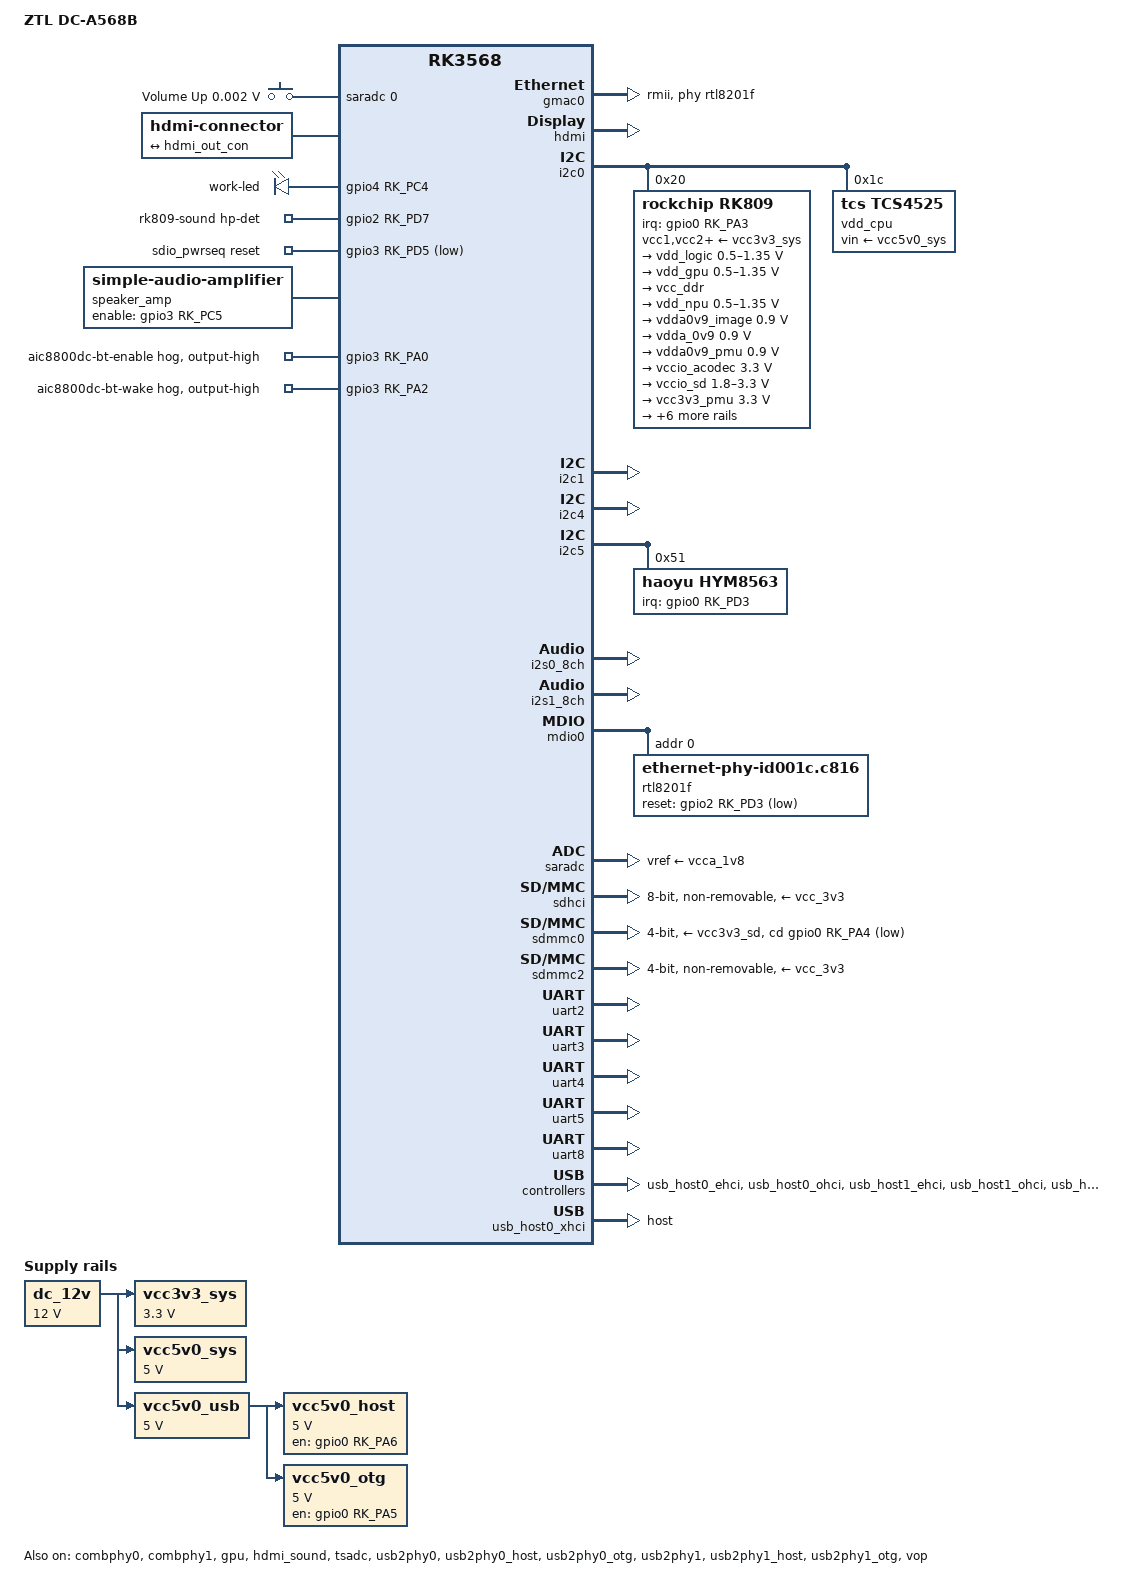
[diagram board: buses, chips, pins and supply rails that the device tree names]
// SPDX-License-Identifier: (GPL-2.0+ OR MIT)
/*
 * Copyright (c) 2022 Fuzhou Rockchip Electronics Co., Ltd.
 * Copyright (c) 2026 retro98boy <retro98boy@qq.com>
 */

/dts-v1/;

#include <dt-bindings/gpio/gpio.h>
#include <dt-bindings/input/input.h>
#include <dt-bindings/pinctrl/rockchip.h>
#include <dt-bindings/soc/rockchip,vop2.h>
#include "rk3568.dtsi"

/ {
	model = "ZTL DC-A568B";
	compatible = "ztl,dc-a568b", "rockchip,rk3568";

	adc-keys {
		compatible = "adc-keys";
		io-channels = <&saradc 0>;
		io-channel-names = "buttons";
		keyup-threshold-microvolt = <1800000>;
		poll-interval = <100>;

		button-volume-up {
			label = "Volume Up";
			linux,code = <KEY_VOLUMEUP>;
			press-threshold-microvolt = <1750>;
		};
	};

	aliases {
		/delete-property/ ethernet1;
		ethernet0 = &gmac0;
		mmc0 = &sdhci;
		mmc1 = &sdmmc0;
		mmc2 = &sdmmc2;
		rtc0 = &hym8563;
		rtc1 = &rk809;
	};

	chosen {
		stdout-path = "serial2:1500000n8";
	};

	hdmi-con {
		compatible = "hdmi-connector";
		type = "a";

		port {
			hdmi_con_in: endpoint {
				remote-endpoint = <&hdmi_out_con>;
			};
		};
	};

	leds {
		compatible = "gpio-leds";

		work-led {
			gpios = <&gpio4 RK_PC4 GPIO_ACTIVE_HIGH>;
			linux,default-trigger = "heartbeat";
		};
	};

	rk809-sound {
		compatible = "simple-audio-card";
		pinctrl-names = "default";
		pinctrl-0 = <&hp_det>;
		/*
		 * ZTL DC-A568B shares the same audio hardware topology as
		 * Zhuoce ZC-3568D. Reuse its card name to share the
		 * Linux ALSA UCM configuration files.
		 */
		simple-audio-card,name = "ZC-3568D";
		simple-audio-card,format = "i2s";
		simple-audio-card,mclk-fs = <256>;
		simple-audio-card,hp-det-gpios = <&gpio2 RK_PD7 GPIO_ACTIVE_HIGH>;
		simple-audio-card,aux-devs = <&speaker_amp>;
		simple-audio-card,pin-switches = "Speaker";
		simple-audio-card,widgets =
			"Headphone", "Headphones",
			"Speaker", "Speaker",
			"Microphone", "Microphone";
		/* The headphone jack and external PA share the RK809 headphone outputs. */
		simple-audio-card,routing =
			"Headphones", "HPOL",
			"Headphones", "HPOR",
			"Speaker Amp INL", "HPOL",
			"Speaker Amp INR", "HPOR",
			"Speaker", "Speaker Amp OUTL",
			"Speaker", "Speaker Amp OUTR",
			"MICL", "Microphone",
			"MICR", "Microphone";

		simple-audio-card,cpu {
			sound-dai = <&i2s1_8ch>;
		};

		simple-audio-card,codec {
			sound-dai = <&rk809>;
		};
	};

	sdio_pwrseq: sdio-pwrseq {
		compatible = "mmc-pwrseq-simple";
		clocks = <&rk809 1>;
		clock-names = "ext_clock";
		pinctrl-names = "default";
		pinctrl-0 = <&wifi_enable_h>;

		reset-gpios = <&gpio3 RK_PD5 GPIO_ACTIVE_LOW>;
		post-power-on-delay-ms = <200>;
	};

	speaker_amp: speaker-amplifier {
		compatible = "simple-audio-amplifier";
		enable-gpios = <&gpio3 RK_PC5 GPIO_ACTIVE_HIGH>;
		sound-name-prefix = "Speaker Amp";
	};

	dc_12v: regulator-dc-12v {
		compatible = "regulator-fixed";
		regulator-name = "dc_12v";
		regulator-always-on;
		regulator-boot-on;
		regulator-min-microvolt = <12000000>;
		regulator-max-microvolt = <12000000>;
	};

	vcc3v3_sys: regulator-vcc3v3-sys {
		compatible = "regulator-fixed";
		regulator-name = "vcc3v3_sys";
		regulator-always-on;
		regulator-boot-on;
		regulator-min-microvolt = <3300000>;
		regulator-max-microvolt = <3300000>;
		vin-supply = <&dc_12v>;
	};

	vcc5v0_sys: regulator-vcc5v0-sys {
		compatible = "regulator-fixed";
		regulator-name = "vcc5v0_sys";
		regulator-always-on;
		regulator-boot-on;
		regulator-min-microvolt = <5000000>;
		regulator-max-microvolt = <5000000>;
		vin-supply = <&dc_12v>;
	};

	vcc5v0_usb: regulator-vcc5v0-usb {
		compatible = "regulator-fixed";
		regulator-name = "vcc5v0_usb";
		regulator-always-on;
		regulator-boot-on;
		regulator-min-microvolt = <5000000>;
		regulator-max-microvolt = <5000000>;
		vin-supply = <&dc_12v>;
	};

	vcc5v0_host: regulator-vcc5v0-host {
		compatible = "regulator-fixed";
		regulator-name = "vcc5v0_host";
		regulator-boot-on;
		regulator-always-on;
		enable-active-high;
		gpio = <&gpio0 RK_PA6 GPIO_ACTIVE_HIGH>;
		pinctrl-names = "default";
		pinctrl-0 = <&vcc5v0_host_en>;
		regulator-min-microvolt = <5000000>;
		regulator-max-microvolt = <5000000>;
		vin-supply = <&vcc5v0_usb>;
	};

	vcc5v0_otg: regulator-vcc5v0-otg {
		compatible = "regulator-fixed";
		regulator-name = "vcc5v0_otg";
		enable-active-high;
		gpio = <&gpio0 RK_PA5 GPIO_ACTIVE_HIGH>;
		pinctrl-names = "default";
		pinctrl-0 = <&vcc5v0_otg_en>;
		regulator-min-microvolt = <5000000>;
		regulator-max-microvolt = <5000000>;
		vin-supply = <&vcc5v0_usb>;
	};
};

&combphy0 {
	/* Used for USB3 */
	phy-supply = <&vcc5v0_otg>;
	status = "okay";
};

&combphy1 {
	/* Used for USB3 */
	phy-supply = <&vcc5v0_host>;
	status = "okay";
};

&cpu0 {
	cpu-supply = <&vdd_cpu>;
};

&cpu1 {
	cpu-supply = <&vdd_cpu>;
};

&cpu2 {
	cpu-supply = <&vdd_cpu>;
};

&cpu3 {
	cpu-supply = <&vdd_cpu>;
};

&gmac0 {
	phy-mode = "rmii";
	clock_in_out = "output";
	assigned-clocks = <&cru SCLK_GMAC0_RX_TX>, <&cru SCLK_GMAC0>, <&cru CLK_MAC0_OUT>;
	assigned-clock-parents = <&cru SCLK_GMAC0_RMII_SPEED>;
	assigned-clock-rates = <0>, <50000000>, <25000000>;
	pinctrl-names = "default";
	pinctrl-0 = <&gmac0_miim &gmac0_clkinout &gmac0_rx_bus2 &gmac0_tx_bus2 &eth0_pins>;
	phy-handle = <&rtl8201f>;
	status = "okay";
};

&gpio3 {
	bluetooth-enable {
		gpio-hog;
		gpios = <RK_PA0 GPIO_ACTIVE_HIGH>;
		output-high;
		line-name = "aic8800dc-bt-enable";
	};

	bluetooth-wake {
		gpio-hog;
		gpios = <RK_PA2 GPIO_ACTIVE_HIGH>;
		output-high;
		line-name = "aic8800dc-bt-wake";
	};
};

&gpu {
	mali-supply = <&vdd_gpu>;
	status = "okay";
};

&hdmi {
	avdd-0v9-supply = <&vdda0v9_image>;
	avdd-1v8-supply = <&vcca1v8_image>;
	status = "okay";
};

&hdmi_in {
	hdmi_in_vp0: endpoint {
		remote-endpoint = <&vp0_out_hdmi>;
	};
};

&hdmi_out {
	hdmi_out_con: endpoint {
		remote-endpoint = <&hdmi_con_in>;
	};
};

&hdmi_sound {
	status = "okay";
};

&i2c0 {
	status = "okay";

	rk809: pmic@20 {
		compatible = "rockchip,rk809";
		reg = <0x20>;
		interrupt-parent = <&gpio0>;
		interrupts = <RK_PA3 IRQ_TYPE_LEVEL_LOW>;
		assigned-clocks = <&cru I2S1_MCLKOUT_TX>;
		assigned-clock-parents = <&cru CLK_I2S1_8CH_TX>;
		#clock-cells = <1>;
		clock-names = "mclk";
		clocks = <&cru I2S1_MCLKOUT_TX>;
		pinctrl-names = "default";
		pinctrl-0 = <&pmic_int>, <&i2s1m0_mclk>;
		system-power-controller;
		#sound-dai-cells = <0>;
		vcc1-supply = <&vcc3v3_sys>;
		vcc2-supply = <&vcc3v3_sys>;
		vcc3-supply = <&vcc3v3_sys>;
		vcc4-supply = <&vcc3v3_sys>;
		vcc5-supply = <&vcc3v3_sys>;
		vcc6-supply = <&vcc3v3_sys>;
		vcc7-supply = <&vcc3v3_sys>;
		vcc8-supply = <&vcc3v3_sys>;
		vcc9-supply = <&vcc3v3_sys>;
		wakeup-source;

		regulators {
			vdd_logic: DCDC_REG1 {
				regulator-always-on;
				regulator-boot-on;
				regulator-min-microvolt = <500000>;
				regulator-max-microvolt = <1350000>;
				regulator-ramp-delay = <6001>;
				regulator-initial-mode = <0x2>;
				regulator-name = "vdd_logic";
				regulator-state-mem {
					regulator-off-in-suspend;
				};
			};

			vdd_gpu: DCDC_REG2 {
				regulator-always-on;
				regulator-boot-on;
				regulator-min-microvolt = <500000>;
				regulator-max-microvolt = <1350000>;
				regulator-ramp-delay = <6001>;
				regulator-initial-mode = <0x2>;
				regulator-name = "vdd_gpu";
				regulator-state-mem {
					regulator-off-in-suspend;
				};
			};

			vcc_ddr: DCDC_REG3 {
				regulator-always-on;
				regulator-boot-on;
				regulator-initial-mode = <0x2>;
				regulator-name = "vcc_ddr";
				regulator-state-mem {
					regulator-on-in-suspend;
				};
			};

			vdd_npu: DCDC_REG4 {
				regulator-always-on;
				regulator-boot-on;
				regulator-min-microvolt = <500000>;
				regulator-max-microvolt = <1350000>;
				regulator-ramp-delay = <6001>;
				regulator-initial-mode = <0x2>;
				regulator-name = "vdd_npu";
				regulator-state-mem {
					regulator-off-in-suspend;
				};
			};

			vdda0v9_image: LDO_REG1 {
				regulator-boot-on;
				regulator-always-on;
				regulator-min-microvolt = <900000>;
				regulator-max-microvolt = <900000>;
				regulator-name = "vdda0v9_image";
				regulator-state-mem {
					regulator-off-in-suspend;
				};
			};

			vdda_0v9: LDO_REG2 {
				regulator-always-on;
				regulator-boot-on;
				regulator-min-microvolt = <900000>;
				regulator-max-microvolt = <900000>;
				regulator-name = "vdda_0v9";
				regulator-state-mem {
					regulator-off-in-suspend;
				};
			};

			vdda0v9_pmu: LDO_REG3 {
				regulator-always-on;
				regulator-boot-on;
				regulator-min-microvolt = <900000>;
				regulator-max-microvolt = <900000>;
				regulator-name = "vdda0v9_pmu";
				regulator-state-mem {
					regulator-on-in-suspend;
					regulator-suspend-microvolt = <900000>;
				};
			};

			vccio_acodec: LDO_REG4 {
				regulator-always-on;
				regulator-boot-on;
				regulator-min-microvolt = <3300000>;
				regulator-max-microvolt = <3300000>;
				regulator-name = "vccio_acodec";
				regulator-state-mem {
					regulator-off-in-suspend;
				};
			};

			vccio_sd: LDO_REG5 {
				regulator-always-on;
				regulator-boot-on;
				regulator-min-microvolt = <1800000>;
				regulator-max-microvolt = <3300000>;
				regulator-name = "vccio_sd";
				regulator-state-mem {
					regulator-off-in-suspend;
				};
			};

			vcc3v3_pmu: LDO_REG6 {
				regulator-always-on;
				regulator-boot-on;
				regulator-min-microvolt = <3300000>;
				regulator-max-microvolt = <3300000>;
				regulator-name = "vcc3v3_pmu";
				regulator-state-mem {
					regulator-on-in-suspend;
					regulator-suspend-microvolt = <3300000>;
				};
			};

			vcca_1v8: LDO_REG7 {
				regulator-always-on;
				regulator-boot-on;
				regulator-min-microvolt = <1800000>;
				regulator-max-microvolt = <1800000>;
				regulator-name = "vcca_1v8";
				regulator-state-mem {
					regulator-off-in-suspend;
				};
			};

			vcca1v8_pmu: LDO_REG8 {
				regulator-always-on;
				regulator-boot-on;
				regulator-min-microvolt = <1800000>;
				regulator-max-microvolt = <1800000>;
				regulator-name = "vcca1v8_pmu";
				regulator-state-mem {
					regulator-on-in-suspend;
					regulator-suspend-microvolt = <1800000>;
				};
			};

			vcca1v8_image: LDO_REG9 {
				regulator-always-on;
				regulator-boot-on;
				regulator-min-microvolt = <1800000>;
				regulator-max-microvolt = <1800000>;
				regulator-name = "vcca1v8_image";
				regulator-state-mem {
					regulator-off-in-suspend;
				};
			};

			vcc_1v8: DCDC_REG5 {
				regulator-always-on;
				regulator-boot-on;
				regulator-min-microvolt = <1800000>;
				regulator-max-microvolt = <1800000>;
				regulator-name = "vcc_1v8";
				regulator-state-mem {
					regulator-off-in-suspend;
				};
			};

			vcc_3v3: SWITCH_REG1 {
				regulator-always-on;
				regulator-boot-on;
				regulator-name = "vcc_3v3";
				regulator-state-mem {
					regulator-off-in-suspend;
				};
			};

			vcc3v3_sd: SWITCH_REG2 {
				regulator-always-on;
				regulator-boot-on;
				regulator-name = "vcc3v3_sd";
				regulator-state-mem {
					regulator-off-in-suspend;
				};
			};
		};

		codec {
			rockchip,mic-in-differential;
		};
	};

	vdd_cpu: regulator@1c {
		compatible = "tcs,tcs4525";
		reg = <0x1c>;
		fcs,suspend-voltage-selector = <0x01>;
		regulator-always-on;
		regulator-boot-on;
		regulator-max-microvolt = <1390000>;
		regulator-min-microvolt = <712500>;
		regulator-name = "vdd_cpu";
		regulator-ramp-delay = <2300>;
		vin-supply = <&vcc5v0_sys>;

		regulator-state-mem {
			regulator-off-in-suspend;
		};
	};
};

&i2c1 {
	status = "okay";
};

&i2c4 {
	status = "okay";
};

&i2c5 {
	status = "okay";

	hym8563: rtc@51 {
		compatible = "haoyu,hym8563";
		reg = <0x51>;
		interrupt-parent = <&gpio0>;
		interrupts = <RK_PD3 IRQ_TYPE_LEVEL_LOW>;
		#clock-cells = <0>;
		pinctrl-names = "default";
		pinctrl-0 = <&rtc_int>;
		wakeup-source;
	};
};

&i2s0_8ch {
	status = "okay";
};

&i2s1_8ch {
	rockchip,trcm-sync-tx-only;
	pinctrl-names = "default";
	pinctrl-0 = <&i2s1m0_sclktx &i2s1m0_lrcktx
		     &i2s1m0_sdi0 &i2s1m0_sdo0>;
	status = "okay";
};

&mdio0 {
	rtl8201f: ethernet-phy@0 {
		compatible = "ethernet-phy-id001c.c816", "ethernet-phy-ieee802.3-c22";
		reg = <0>;
		clocks = <&cru CLK_MAC0_OUT>;
		reset-gpios = <&gpio2 RK_PD3 GPIO_ACTIVE_LOW>;
		reset-assert-us = <20000>;
		reset-deassert-us = <100000>;
	};
};

&pinctrl {
	rtc {
		rtc_int: rtc-int {
			rockchip,pins = <0 RK_PD3 RK_FUNC_GPIO &pcfg_pull_up>;
		};
	};

	headphone {
		hp_det: hp-det {
			rockchip,pins = <2 RK_PD7 RK_FUNC_GPIO &pcfg_pull_down>;
		};
	};

	pmic {
		pmic_int: pmic-int {
			rockchip,pins = <0 RK_PA3 RK_FUNC_GPIO &pcfg_pull_up>;
		};
	};

	sdio-pwrseq {
		wifi_enable_h: wifi-enable-h {
			rockchip,pins = <3 RK_PD5 RK_FUNC_GPIO &pcfg_pull_none>;
		};
	};

	usb {
		vcc5v0_host_en: vcc5v0-host-en {
			rockchip,pins = <0 RK_PA6 RK_FUNC_GPIO &pcfg_pull_none>;
		};

		vcc5v0_otg_en: vcc5v0-otg-en {
			rockchip,pins = <0 RK_PA5 RK_FUNC_GPIO &pcfg_pull_none>;
		};
	};
};

&pmu_io_domains {
	pmuio2-supply = <&vcc3v3_pmu>;
	vccio1-supply = <&vccio_acodec>;
	vccio3-supply = <&vccio_sd>;
	vccio4-supply = <&vcc_3v3>;
	vccio5-supply = <&vcc_3v3>;
	vccio6-supply = <&vcc_1v8>;
	vccio7-supply = <&vcc_3v3>;
	status = "okay";
};

&saradc {
	vref-supply = <&vcca_1v8>;
	status = "okay";
};

&sdhci {
	bus-width = <8>;
	mmc-hs200-1_8v;
	no-sd;
	no-sdio;
	max-frequency = <200000000>;
	non-removable;
	full-pwr-cycle-in-suspend;
	pinctrl-names = "default";
	pinctrl-0 = <&emmc_bus8 &emmc_clk &emmc_cmd &emmc_datastrobe &emmc_rstnout>;
	vmmc-supply = <&vcc_3v3>;
	vqmmc-supply = <&vcc_1v8>;
	status = "okay";
};

&sdmmc0 {
	no-mmc;
	no-sdio;
	bus-width = <4>;
	cap-sd-highspeed;
	sd-uhs-sdr104;
	disable-wp;
	cd-gpios = <&gpio0 RK_PA4 GPIO_ACTIVE_LOW>;
	pinctrl-names = "default";
	pinctrl-0 = <&sdmmc0_bus4 &sdmmc0_clk &sdmmc0_cmd>;
	vmmc-supply = <&vcc3v3_sd>;
	vqmmc-supply = <&vccio_sd>;
	status = "okay";
};

&sdmmc2 {
	no-sd;
	no-mmc;
	bus-width = <4>;
	disable-wp;
	cap-sd-highspeed;
	cap-sdio-irq;
	keep-power-in-suspend;
	mmc-pwrseq = <&sdio_pwrseq>;
	non-removable;
	pinctrl-names = "default";
	pinctrl-0 = <&sdmmc2m0_bus4 &sdmmc2m0_cmd &sdmmc2m0_clk>;
	vmmc-supply = <&vcc_3v3>;
	vqmmc-supply = <&vcc_3v3>;
	status = "okay";
};

&tsadc {
	status = "okay";
};

/* Debug UART */
&uart2 {
	status = "okay";
};

&uart3 {
	pinctrl-names = "default";
	pinctrl-0 = <&uart3m1_xfer>;
	status = "okay";
};

&uart4 {
	pinctrl-names = "default";
	pinctrl-0 = <&uart4m1_xfer>;
	status = "okay";
};

&uart5 {
	pinctrl-names = "default";
	pinctrl-0 = <&uart5m1_xfer>;
	status = "okay";
};

&uart8 {
	dma-names = "tx", "rx";
	pinctrl-names = "default";
	pinctrl-0 = <&uart8m0_xfer &uart8m0_ctsn &uart8m0_rtsn>;
	uart-has-rtscts;
	status = "okay";
};

&usb2phy0 {
	status = "okay";
};

&usb2phy0_host {
	phy-supply = <&vcc5v0_host>;
	status = "okay";
};

&usb2phy0_otg {
	phy-supply = <&vcc5v0_otg>;
	status = "okay";
};

&usb2phy1 {
	status = "okay";
};

&usb2phy1_host {
	phy-supply = <&vcc5v0_host>;
	status = "okay";
};

&usb2phy1_otg {
	phy-supply = <&vcc5v0_host>;
	status = "okay";
};

&usb_host0_ehci {
	status = "okay";
};

&usb_host0_ohci {
	status = "okay";
};

&usb_host0_xhci {
	dr_mode = "host";
	status = "okay";
};

&usb_host1_ehci {
	status = "okay";
};

&usb_host1_ohci {
	status = "okay";
};

&usb_host1_xhci {
	status = "okay";
};

&vop {
	assigned-clocks = <&cru DCLK_VOP0>, <&cru DCLK_VOP1>;
	assigned-clock-parents = <&pmucru PLL_HPLL>, <&cru PLL_VPLL>;
	status = "okay";
};

&vop_mmu {
	status = "okay";
};

&vp0 {
	vp0_out_hdmi: endpoint@ROCKCHIP_VOP2_EP_HDMI0 {
		reg = <ROCKCHIP_VOP2_EP_HDMI0>;
		remote-endpoint = <&hdmi_in_vp0>;
	};
};
